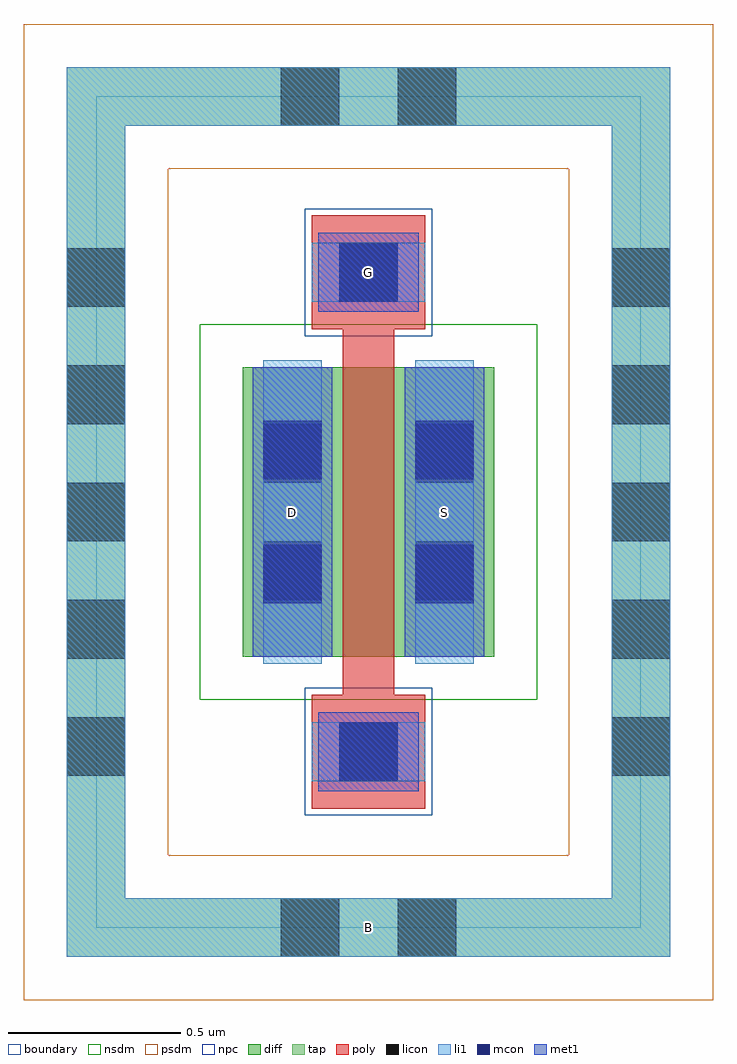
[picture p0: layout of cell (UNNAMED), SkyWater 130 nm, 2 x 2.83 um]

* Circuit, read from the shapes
.subckt (UNNAMED) B D G S
XM1 S G D B sky130_fd_pr__nfet_01v8 w=0.84 l=0.15
.ends

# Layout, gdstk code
import gdstk
lib = gdstk.Library(unit=1e-6, precision=1e-09)
def R(c, l, rs):  # rectangles x0, y0, x1, y1
    for r in rs: c.add(gdstk.rectangle(r[:2], r[2:], *l))
def A(c, l, x, y, w, h, nx, ny, dx, dy):  # array of equal rectangles
    R(c, l, [(x+i*dx, y+j*dy, x+i*dx+w, y+j*dy+h) for i in range(nx) for j in range(ny)])
diff = (65, 20)
tap = (65, 44)
poly = (66, 20)
licon = (66, 44)
li1 = (67, 20)
mcon = (67, 44)
met1 = (68, 20)
nsdm = (93, 44)
psdm = (94, 20)
npc = (95, 20)
boundary = (235, 4)

c__unnamed_ = lib.new_cell('(UNNAMED)')
R(c__unnamed_, diff, [(-0.365,-0.42,0.365,0.42)])
R(c__unnamed_, tap, [(-0.875,-1.29,0.875,-1.12), (-0.875,-1.12,-0.705,1.12), (0.705,-1.12,0.875,1.12), (-0.875,1.12,0.875,1.29)])
R(c__unnamed_, poly, [(-0.165,-0.86,0.165,-0.53), (-0.075,-0.53,0.075,0.53), (-0.165,0.53,0.165,0.86)])
A(c__unnamed_, licon, -0.875, -0.765, 0.17, 0.17, 1, 5, 0, 0.34)
A(c__unnamed_, licon, 0.705, -0.765, 0.17, 0.17, 1, 5, 0, 0.34)
R(c__unnamed_, licon, [(-0.255,-1.29,-0.085,-1.12), (0.085,-1.29,0.255,-1.12), (-0.085,-0.78,0.085,-0.61), (-0.305,-0.255,-0.135,-0.085), (0.135,-0.255,0.305,-0.085), (-0.305,0.085,-0.135,0.255), (0.135,0.085,0.305,0.255), (-0.085,0.61,0.085,0.78), (-0.255,1.12,-0.085,1.29), (0.085,1.12,0.255,1.29)])
R(c__unnamed_, li1, [(-0.875,-1.29,0.875,-1.12), (-0.875,-1.12,-0.705,1.12), (0.705,-1.12,0.875,1.12), (-0.165,-0.78,0.165,-0.61), (-0.305,-0.44,-0.135,0.44), (0.135,-0.44,0.305,0.44), (-0.165,0.61,0.165,0.78), (-0.875,1.12,0.875,1.29)])
R(c__unnamed_, mcon, [(-0.085,-0.78,0.085,-0.61), (-0.305,-0.265,-0.135,-0.095), (0.135,-0.265,0.305,-0.095), (-0.305,0.095,-0.135,0.265), (0.135,0.095,0.305,0.265), (-0.085,0.61,0.085,0.78)])
R(c__unnamed_, met1, [(-0.145,-0.81,0.145,-0.58), (-0.335,-0.42,-0.105,0.42), (0.105,-0.42,0.335,0.42), (-0.145,0.58,0.145,0.81)])
R(c__unnamed_, nsdm, [(-0.49,-0.545,0.49,0.545)])
R(c__unnamed_, psdm, [(-1,-1.415,1,-0.995), (-1,-0.995,-0.58,0.995), (0.58,-0.995,1,0.995), (-1,0.995,1,1.415)])
R(c__unnamed_, npc, [(-0.185,-0.88,0.185,-0.51), (-0.185,0.51,0.185,0.88)])
R(c__unnamed_, boundary, [(-0.79,-1.205,0.79,1.205)])
c__unnamed_.add(gdstk.Label('B', (0,-1.205), layer=67, texttype=5))
c__unnamed_.add(gdstk.Label('D', (-0.22,0), layer=67, texttype=5))
c__unnamed_.add(gdstk.Label('S', (0.22,0), layer=67, texttype=5))
c__unnamed_.add(gdstk.Label('G', (0,0.695), layer=67, texttype=5))

lib.write_gds('_UNNAMED_.gds')
